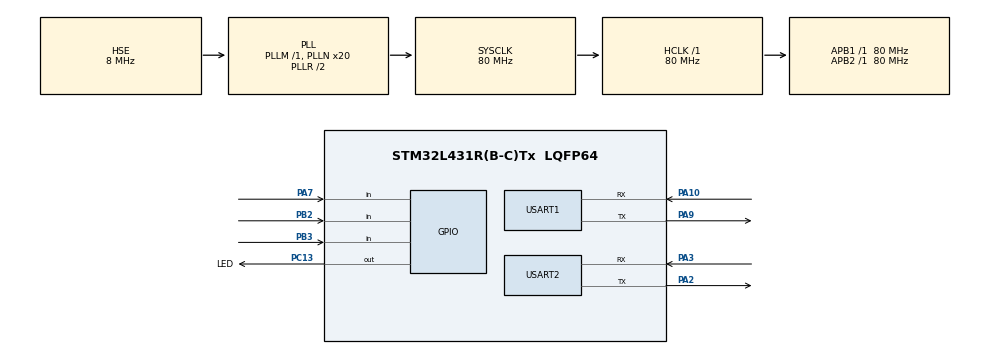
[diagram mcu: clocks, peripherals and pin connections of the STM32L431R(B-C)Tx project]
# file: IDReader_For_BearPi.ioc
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Dma.Request0=USART2_RX
Dma.USART2_RX.0.Direction=DMA_PERIPH_TO_MEMORY
Dma.USART2_RX.0.Instance=DMA1_Channel6
Dma.USART2_RX.0.MemDataAlignment=DMA_MDATAALIGN_BYTE
Dma.USART2_RX.0.MemInc=DMA_MINC_ENABLE
Dma.USART2_RX.0.Mode=DMA_NORMAL
Dma.USART2_RX.0.PeriphDataAlignment=DMA_PDATAALIGN_BYTE
Dma.USART2_RX.0.PeriphInc=DMA_PINC_DISABLE
Dma.USART2_RX.0.Priority=DMA_PRIORITY_LOW
Mcu.Family=STM32L4
Mcu.Name=STM32L431R(B-C)Tx
Mcu.Package=LQFP64
NVIC.DMA1_Channel6_IRQn=true\:0\:0\:false\:false\:true\:false\:true
NVIC.PriorityGroup=NVIC_PRIORITYGROUP_4
NVIC.USART2_IRQn=true\:0\:0\:false\:false\:true\:true\:true
PA10.Mode=Asynchronous
PA10.Signal=USART1_RX
PA13\ (JTMS-SWDIO).Mode=Serial_Wire
PA13\ (JTMS-SWDIO).Signal=SYS_JTMS-SWDIO
PA14\ (JTCK-SWCLK).Mode=Serial_Wire
PA14\ (JTCK-SWCLK).Signal=SYS_JTCK-SWCLK
PA2.Mode=Asynchronous
PA2.Signal=USART2_TX
PA3.Mode=Asynchronous
PA3.Signal=USART2_RX
PA7.GPIO_PuPd=GPIO_PULLUP
PA7.Signal=GPIO_Input
PA9.Mode=Asynchronous
PA9.Signal=USART1_TX
PB2.GPIO_PuPd=GPIO_PULLUP
PB2.Signal=GPIO_Input
PB3\ (JTDO-TRACESWO).GPIO_PuPd=GPIO_PULLUP
PB3\ (JTDO-TRACESWO).Signal=GPIO_Input
PC13.GPIO_Label=LED
PC13.Signal=GPIO_Output
PH0-OSC_IN\ (PH0).Mode=HSE-External-Oscillator
PH0-OSC_IN\ (PH0).Signal=RCC_OSC_IN
PH1-OSC_OUT\ (PH1).Mode=HSE-External-Oscillator
PH1-OSC_OUT\ (PH1).Signal=RCC_OSC_OUT
ProjectManager.HeapSize=0x200
ProjectManager.StackSize=0x400
ProjectManager.TargetToolchain=MDK-ARM V5
RCC.ADCFreq_Value=32000000
RCC.AHBFreq_Value=80000000
RCC.APB1Freq_Value=80000000
RCC.APB1TimFreq_Value=80000000
RCC.APB2Freq_Value=80000000
RCC.APB2TimFreq_Value=80000000
RCC.CortexFreq_Value=80000000
RCC.HCLKFreq_Value=80000000
RCC.HSE_VALUE=8000000
RCC.HSI48_VALUE=48000000
RCC.HSI_VALUE=16000000
RCC.LSE_VALUE=32768
RCC.MSI_VALUE=4000000
RCC.PLLN=20
RCC.PLLSourceVirtual=RCC_PLLSOURCE_HSE
RCC.SYSCLKFreq_VALUE=80000000
RCC.SYSCLKSource=RCC_SYSCLKSOURCE_PLLCLK
RCC.VCOOutputFreq_Value=160000000
USART1.VirtualMode-Asynchronous=VM_ASYNC
USART2.VirtualMode-Asynchronous=VM_ASYNC
board=custom

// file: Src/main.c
/* USER CODE BEGIN Header */
/**
  ******************************************************************************
  * @file           : main.c
  * @brief          : Main program body
  ******************************************************************************
  * @attention
  *
  * <h2><center>&copy; Copyright (c) 2020 STMicroelectronics.
  * All rights reserved.</center></h2>
  *
  * This software component is licensed by ST under BSD 3-Clause license,
  * the "License"; You may not use this file except in compliance with the
  * License. You may obtain a copy of the License at:
  *                        opensource.org/licenses/BSD-3-Clause
  *
  ******************************************************************************
  */
/* USER CODE END Header */

#include "main.h"
#include "dma.h"
#include "usart.h"
#include "gpio.h"

/* USER CODE BEGIN Includes */
#include "IDReader.h"
#include "stm32l4xx_it.h"
#include "multi_timer.h"

/* USER CODE END Includes */

/* USER CODE BEGIN PD */
//ascii转10进制
#define ASCII_TO_DEC(x)  (uint8_t)(x%(0x30))
/* USER CODE END PD */

/* USER CODE BEGIN PV */
struct Timer Find_Id_Card_Timer;
/* USER CODE END PV */

void SystemClock_Config(void);

/* USER CODE BEGIN 0 */
uint8_t is_read_id_card_flag = 0 ;

//1 寻卡  2 选卡 3 读取身份证信息 0 没有
__IO uint8_t Current_Cmd = 0 ;
//寻找卡回调
void Find_ID_Card_CallBack(void)
{
    switch(Current_Cmd)
    {
        //没有
        case 0:
            break ;

        //寻卡
        case 1:
            //printf("发送寻卡指令\n");
            Find_Id_Card();
            break ;

        //选卡
        case 2:
            //printf("发送选卡指令\n");
            Select_Id_Card();
            break ;

        //读取身份证信息
        case 3:
            printf("读取身份证信息\n");
            Read_Id_Card_Info();
            is_read_id_card_flag = 1 ;
            break ;
    }
}
/* USER CODE END 0 */

int main(void)
{
    /* USER CODE BEGIN 1 */
    int i = 0, j = 0;
    int font_info_len = 0 ;
    int pic_info_len = 0 ;
    uint8_t status = 0 ;

    ID_Card_Parse Data_Info ;
    uint8_t  Name_Buf[30] = {0};
    uint8_t  Font_Info[256] = {0};
    uint8_t  ID_Card_Number_Buf[36] = {0};

    char name_gbk[30] = {0};
    char id_card_num[30] = {0};
    char name_unicode[30] = {0};
    uint8_t Out_Put_ID_Card_Number[18] = {0};
    /* USER CODE END 1 */

    /* MCU Configuration--------------------------------------------------------*/

    /* Reset of all peripherals, Initializes the Flash interface and the Systick. */
    HAL_Init();

    /* Configure the system clock */
    SystemClock_Config();

    /* Initialize all configured peripherals */
    MX_GPIO_Init();
    MX_DMA_Init();
    MX_USART1_UART_Init();
    MX_USART2_UART_Init();
    /* USER CODE BEGIN 2 */
    printf("身份证信息读取\n");
    Reset_SAM_A();
    //开启DMA接收
    HAL_UART_Receive_DMA(&huart2, rbBuf, MAX_LEN);
    memset(rbBuf, 0, MAX_LEN);

    //启动查询定时器
    timer_init(&Find_Id_Card_Timer, Find_ID_Card_CallBack, 500, 500);
    timer_start(&Find_Id_Card_Timer);
    Current_Cmd = 1 ;
    /* USER CODE END 2 */

    /* Infinite loop */
    while (1)
    {

        /* USER CODE BEGIN 3 */
        if(Recv_Flag ==  1)
        {
            Recv_Flag = 0 ;

            if(Current_Cmd != 0)
            {
                //匹配到状态字SW1=0x00 && SW2=0x00 && SW3=0x9F，则表示已经寻找到卡了
                if(rbBuf[7] == 0x00 && rbBuf[8] == 0x00 && rbBuf[9] == 0x9F)
                    Current_Cmd = 2 ;
                //匹配到状态字SW1=0x00 && SW2=0x00 && SW3=0x90，则表示已经选择到卡了
                else if(rbBuf[7] == 0x00 && rbBuf[8] == 0x00 && rbBuf[9] == 0x90)
                    Current_Cmd = 3 ;
                else
                    HAL_GPIO_WritePin(LED_GPIO_Port, LED_Pin, GPIO_PIN_RESET);
            }

            if(is_read_id_card_flag == 1)
            {
                HAL_GPIO_WritePin(LED_GPIO_Port, LED_Pin, GPIO_PIN_SET);
                //继续发送寻卡指令
                Current_Cmd = 1 ;
                is_read_id_card_flag = 0 ;
                font_info_len = rbBuf[10] << 8 | rbBuf[11] ;
                pic_info_len =  rbBuf[12] << 8 | rbBuf[13] ;

                for(i = 0 ; i < font_info_len ; i++)
                    Font_Info[i] = rbBuf[14 + i];

                memcpy(Name_Buf, Font_Info, 30);
                memcpy(ID_Card_Number_Buf, Font_Info + 122, 36);

                //打印姓名:
                for(int i = 0 ; i < 30 ; i++)
                {
                    printf("%x ", Name_Buf[i]);
                }

                printf("\n");
                sprintf(name_unicode, "%x%x%x%x%x%x%x%x%x%x%x%x%x%x%x%x%x%x%x%x%x%x%x%x%x%x%x%x%x%x",
                        Name_Buf[1], Name_Buf[0], \
                        Name_Buf[3], Name_Buf[2], \
                        Name_Buf[5], Name_Buf[4], \
                        Name_Buf[7], Name_Buf[6], \
                        Name_Buf[9], Name_Buf[8], \
                        Name_Buf[11], Name_Buf[10], \
                        Name_Buf[13], Name_Buf[12], \
                        Name_Buf[15], Name_Buf[14], \
                        Name_Buf[17], Name_Buf[16], \
                        Name_Buf[19], Name_Buf[18], \
                        Name_Buf[21], Name_Buf[20], \
                        Name_Buf[23], Name_Buf[22], \
                        Name_Buf[25], Name_Buf[24], \
                        Name_Buf[27], Name_Buf[26], \
                        Name_Buf[29], Name_Buf[28]
                       );
                unistr2gbkstr(name_gbk, name_unicode);
                printf("姓名:%s\n", name_gbk);

                //打印身份证
                for(i = 0 ; i < 36 ; i++)
                {
                    if(i % 2 == 0)
                    {
                        Out_Put_ID_Card_Number[j] = ID_Card_Number_Buf[i] - 48;
                        j++;
                    }
                }

                sprintf(id_card_num, "%d%d%d%d%d%d%d%d%d%d%d%d%d%d%d%d%d%d",
                        Out_Put_ID_Card_Number[0], Out_Put_ID_Card_Number[1],
                        Out_Put_ID_Card_Number[2], Out_Put_ID_Card_Number[3],
                        Out_Put_ID_Card_Number[4], Out_Put_ID_Card_Number[5],
                        Out_Put_ID_Card_Number[6], Out_Put_ID_Card_Number[7],
                        Out_Put_ID_Card_Number[8], Out_Put_ID_Card_Number[9],
                        Out_Put_ID_Card_Number[10], Out_Put_ID_Card_Number[11],
                        Out_Put_ID_Card_Number[12], Out_Put_ID_Card_Number[13],
                        Out_Put_ID_Card_Number[14], Out_Put_ID_Card_Number[15],
                        Out_Put_ID_Card_Number[16], Out_Put_ID_Card_Number[17]
                       );
                printf("%s的身份证号码:%s", name_gbk, id_card_num);
                j = 0;
            }

            rx_count = 0;					//清除计数
            Recv_Flag = 0;	//清除接收结束标志位
            memset(rbBuf, 0, sizeof(rbBuf));
        }

        timer_loop();
    }

    /* USER CODE END 3 */
}

void SystemClock_Config(void)
{
    RCC_OscInitTypeDef RCC_OscInitStruct = {0};
    RCC_ClkInitTypeDef RCC_ClkInitStruct = {0};
    RCC_PeriphCLKInitTypeDef PeriphClkInit = {0};

    /** Initializes the CPU, AHB and APB busses clocks
    */
    RCC_OscInitStruct.OscillatorType = RCC_OSCILLATORTYPE_HSE;
    RCC_OscInitStruct.HSEState = RCC_HSE_ON;
    RCC_OscInitStruct.PLL.PLLState = RCC_PLL_ON;
    RCC_OscInitStruct.PLL.PLLSource = RCC_PLLSOURCE_HSE;
    RCC_OscInitStruct.PLL.PLLM = 1;
    RCC_OscInitStruct.PLL.PLLN = 20;
    RCC_OscInitStruct.PLL.PLLP = RCC_PLLP_DIV7;
    RCC_OscInitStruct.PLL.PLLQ = RCC_PLLQ_DIV2;
    RCC_OscInitStruct.PLL.PLLR = RCC_PLLR_DIV2;

    if (HAL_RCC_OscConfig(&RCC_OscInitStruct) != HAL_OK)
    {
        Error_Handler();
    }

    /** Initializes the CPU, AHB and APB busses clocks
    */
    RCC_ClkInitStruct.ClockType = RCC_CLOCKTYPE_HCLK | RCC_CLOCKTYPE_SYSCLK
                                  | RCC_CLOCKTYPE_PCLK1 | RCC_CLOCKTYPE_PCLK2;
    RCC_ClkInitStruct.SYSCLKSource = RCC_SYSCLKSOURCE_PLLCLK;
    RCC_ClkInitStruct.AHBCLKDivider = RCC_SYSCLK_DIV1;
    RCC_ClkInitStruct.APB1CLKDivider = RCC_HCLK_DIV1;
    RCC_ClkInitStruct.APB2CLKDivider = RCC_HCLK_DIV1;

    if (HAL_RCC_ClockConfig(&RCC_ClkInitStruct, FLASH_LATENCY_4) != HAL_OK)
    {
        Error_Handler();
    }

    PeriphClkInit.PeriphClockSelection = RCC_PERIPHCLK_USART1 | RCC_PERIPHCLK_USART2;
    PeriphClkInit.Usart1ClockSelection = RCC_USART1CLKSOURCE_PCLK2;
    PeriphClkInit.Usart2ClockSelection = RCC_USART2CLKSOURCE_PCLK1;

    if (HAL_RCCEx_PeriphCLKConfig(&PeriphClkInit) != HAL_OK)
    {
        Error_Handler();
    }

    /** Configure the main internal regulator output voltage
    */
    if (HAL_PWREx_ControlVoltageScaling(PWR_REGULATOR_VOLTAGE_SCALE1) != HAL_OK)
    {
        Error_Handler();
    }
}

void Error_Handler(void)
{
}

/************************ (C) COPYRIGHT STMicroelectronics *****END OF FILE****/
